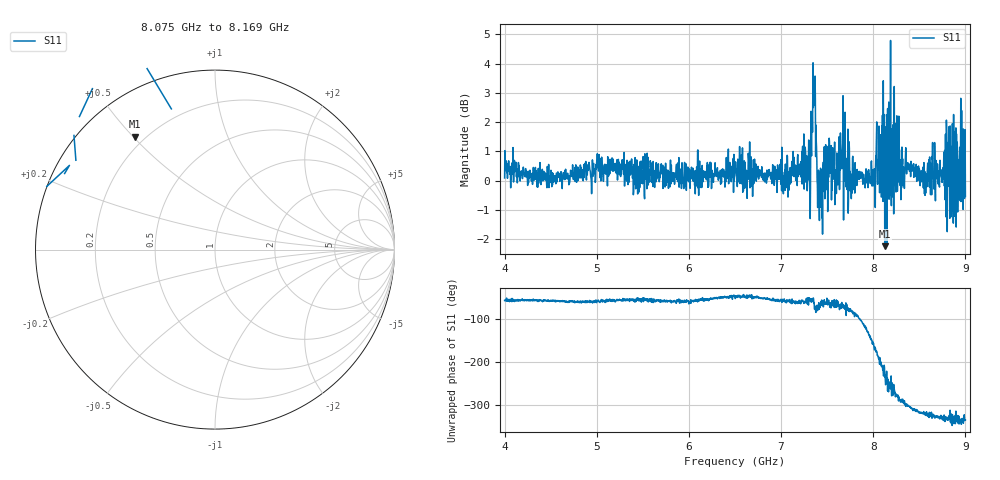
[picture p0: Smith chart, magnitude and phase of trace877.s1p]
! Created with skrf 1.8.0 (http://scikit-rf.org).
# Hz S RI R 50.0
!freq ReS11 ImS11
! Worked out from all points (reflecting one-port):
!   1601 points, 4 GHz to 9 GHz, reference 50 ohm
!   lowest |S11| = -2.2 dB at 8.125 GHz (marker M1), VSWR 7.78, Z = 8.11 + j25.3 ohm
!   phase of S11 starts at -58 deg and turns -276 deg over the sweep
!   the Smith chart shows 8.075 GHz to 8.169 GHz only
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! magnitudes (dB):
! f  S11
! 4 GHz  0.1
! 4.625 GHz  -0.3
! 5.25 GHz  0.2
! 5.875 GHz  0.2
! 6.5 GHz  0.2
! 7.038 GHz  0.1
! 7.125 GHz  0.4
! 7.294 GHz  0.7
! 7.347 GHz  4.0
! 7.369 GHz  3.6
! 7.4 GHz  0.2
! 7.425 GHz  0.0
! 7.478 GHz  1.0
! 7.609 GHz  0.4
! 7.669 GHz  1.3
! 7.75 GHz  -0.3
! 7.997 GHz  0.1
! 8.097 GHz  0.6
! 8.125 GHz  -2.2
! 8.162 GHz  0.6
! 8.197 GHz  -0.9
! 8.312 GHz  1.1
! 8.375 GHz  0.6
! 8.556 GHz  -0.5
! 8.834 GHz  1.9
! 8.856 GHz  -0.1
! 8.956 GHz  0.1
! 9 GHz  -0.5
